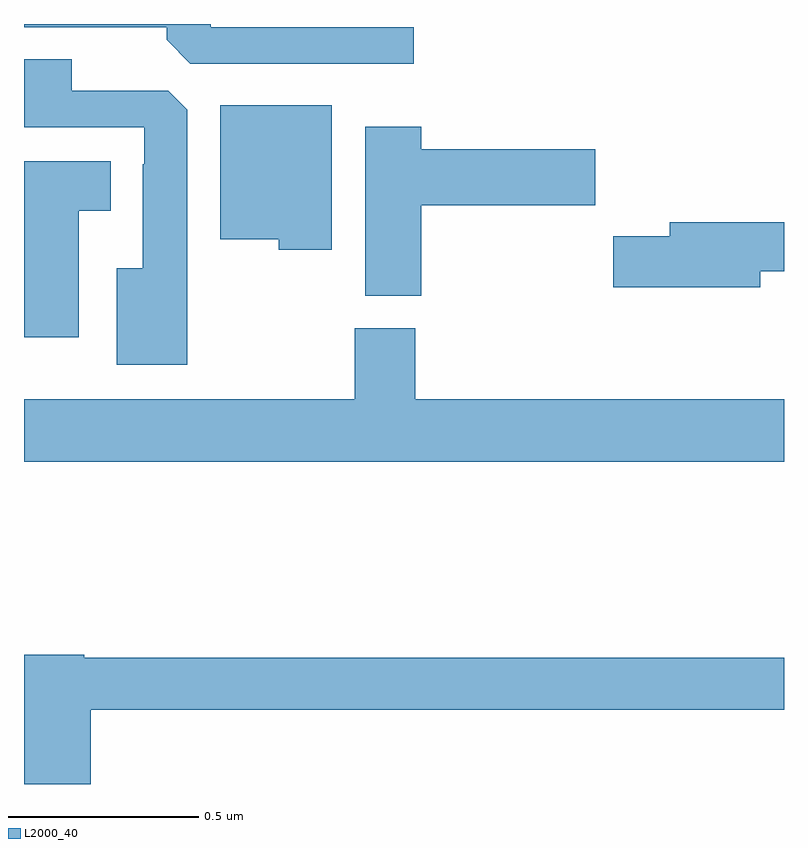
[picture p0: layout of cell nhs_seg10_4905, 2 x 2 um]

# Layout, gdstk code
import gdstk
lib = gdstk.Library(unit=1e-6, precision=1e-09)
def P(c, l, *ps):  # polygons
    for p in ps: c.add(gdstk.Polygon(p, *l))
L2000_40 = (2000, 40)

nhs_seg10_4905 = lib.new_cell('nhs_seg10_4905')
P(nhs_seg10_4905, L2000_40, [(173.026,1269.492),(172.491,1269.492),(172.491,1269.5),(172,1269.5),(172,1269.492),(172.376,1269.492),(172.376,1269.458),(172.437,1269.396),(173.026,1269.396)],
  [(172.429,1269.275),(172.38,1269.324),(172.126,1269.324),(172.126,1269.407),(172,1269.407),(172,1269.228),(172.317,1269.228),(172.317,1269.131),(172.313,1269.131),(172.313,1268.857),(172.244,1268.857),(172.244,1268.603),(172.429,1268.603)],
  [(172.81,1269.286),(172.517,1269.286),(172.517,1268.933),(172.671,1268.933),(172.671,1268.906),(172.81,1268.906)],
  [(173.045,1269.023),(173.503,1269.023),(173.503,1269.17),(173.045,1269.17),(173.045,1269.229),(172.898,1269.229),(172.898,1268.785),(173.045,1268.785)],
  [(172.144,1269.008),(172.228,1269.008),(172.228,1269.139),(172.001,1269.139),(172.001,1268.676),(172.144,1268.676)],
  [(173.938,1268.85),(174,1268.85),(174,1268.978),(173.699,1268.978),(173.699,1268.942),(173.55,1268.942),(173.55,1268.807),(173.938,1268.807)],
  [(174,1268.512),(173.03,1268.512),(173.03,1268.7),(172.87,1268.7),(172.87,1268.512),(172,1268.512),(172,1268.348),(174,1268.348)],
  [(172.175,1267.696),(174,1267.696),(174,1267.832),(172.158,1267.832),(172.158,1267.84),(172,1267.84),(172,1267.5),(172.175,1267.5)])

lib.write_gds('nhs_seg10_4905.gds')
